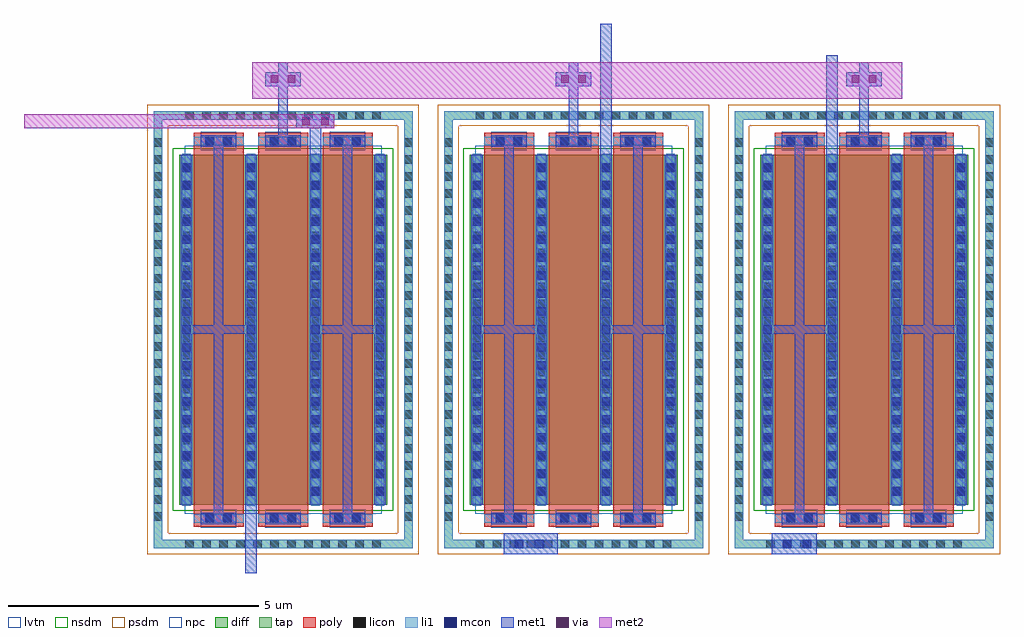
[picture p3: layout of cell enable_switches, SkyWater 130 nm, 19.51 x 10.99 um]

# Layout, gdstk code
import gdstk
lib = gdstk.Library(unit=1e-6, precision=1e-09)
def R(c, l, rs):  # rectangles x0, y0, x1, y1
    for r in rs: c.add(gdstk.rectangle(r[:2], r[2:], *l))
def A(c, l, x, y, w, h, nx, ny, dx, dy):  # array of equal rectangles
    R(c, l, [(x+i*dx, y+j*dy, x+i*dx+w, y+j*dy+h) for i in range(nx) for j in range(ny)])
diff = (65, 20)
tap = (65, 44)
poly = (66, 20)
licon = (66, 44)
li1 = (67, 20)
mcon = (67, 44)
met1 = (68, 20)
via = (68, 44)
met2 = (69, 20)
nsdm = (93, 44)
psdm = (94, 20)
npc = (95, 20)
lvtn = (125, 44)

enable_switches = lib.new_cell('enable_switches')
A(enable_switches, diff, 9.49, 8.82, 4.16, 7, 3, 1, 5.81, 0)
A(enable_switches, tap, 8.98, 7.95, 5.18, 0.17, 3, 2, 5.81, 8.57)
R(enable_switches, tap, [(8.98,8.12,9.15,16.52), (13.99,8.12,14.16,16.52), (14.79,8.12,14.96,16.52), (19.8,8.12,19.97,16.52), (20.6,8.12,20.77,16.52), (25.61,8.12,25.78,16.52)])
A(enable_switches, poly, 9.78, 8.38, 1, 7.88, 3, 1, 1.29, 0)
A(enable_switches, poly, 15.59, 8.38, 1, 7.88, 3, 1, 1.29, 0)
A(enable_switches, poly, 21.4, 8.38, 1, 7.88, 3, 1, 1.29, 0)
A(enable_switches, licon, 9.615, 7.95, 0.17, 0.17, 12, 2, 0.34, 8.57)
A(enable_switches, licon, 15.425, 7.95, 0.17, 0.17, 12, 2, 0.34, 8.57)
A(enable_switches, licon, 21.235, 7.95, 0.17, 0.17, 12, 2, 0.34, 8.57)
A(enable_switches, licon, 8.98, 8.495, 0.17, 0.17, 1, 23, 0, 0.34)
A(enable_switches, licon, 13.99, 8.495, 0.17, 0.17, 1, 23, 0, 0.34)
A(enable_switches, licon, 14.79, 8.495, 0.17, 0.17, 1, 23, 0, 0.34)
A(enable_switches, licon, 19.8, 8.495, 0.17, 0.17, 1, 23, 0, 0.34)
A(enable_switches, licon, 20.6, 8.495, 0.17, 0.17, 1, 23, 0, 0.34)
A(enable_switches, licon, 25.61, 8.495, 0.17, 0.17, 1, 23, 0, 0.34)
A(enable_switches, licon, 9.55, 9.005, 0.17, 0.17, 4, 20, 1.29, 0.34)
A(enable_switches, licon, 15.36, 9.005, 0.17, 0.17, 4, 20, 1.29, 0.34)
A(enable_switches, licon, 21.17, 9.005, 0.17, 0.17, 4, 20, 1.29, 0.34)
R(enable_switches, licon, [(10.025,8.46,10.195,8.63), (10.365,8.46,10.535,8.63), (11.315,8.46,11.485,8.63), (11.655,8.46,11.825,8.63), (12.605,8.46,12.775,8.63), (12.945,8.46,13.115,8.63), (15.835,8.46,16.005,8.63), (16.175,8.46,16.345,8.63), (17.125,8.46,17.295,8.63), (17.465,8.46,17.635,8.63), (18.415,8.46,18.585,8.63), (18.755,8.46,18.925,8.63), (21.645,8.46,21.815,8.63), (21.985,8.46,22.155,8.63), (22.935,8.46,23.105,8.63), (23.275,8.46,23.445,8.63), (24.225,8.46,24.395,8.63), (24.565,8.46,24.735,8.63), (10.025,16.01,10.195,16.18), (10.365,16.01,10.535,16.18), (11.315,16.01,11.485,16.18), (11.655,16.01,11.825,16.18), (12.605,16.01,12.775,16.18), (12.945,16.01,13.115,16.18), (15.835,16.01,16.005,16.18), (16.175,16.01,16.345,16.18), (17.125,16.01,17.295,16.18), (17.465,16.01,17.635,16.18), (18.415,16.01,18.585,16.18), (18.755,16.01,18.925,16.18), (21.645,16.01,21.815,16.18), (21.985,16.01,22.155,16.18), (22.935,16.01,23.105,16.18), (23.275,16.01,23.445,16.18), (24.225,16.01,24.395,16.18), (24.565,16.01,24.735,16.18)])
A(enable_switches, li1, 8.98, 7.95, 5.18, 0.17, 3, 2, 5.81, 8.57)
A(enable_switches, li1, 9.78, 8.46, 1, 0.17, 3, 2, 1.29, 7.55)
A(enable_switches, li1, 15.59, 8.46, 1, 0.17, 3, 2, 1.29, 7.55)
A(enable_switches, li1, 21.4, 8.46, 1, 0.17, 3, 2, 1.29, 7.55)
A(enable_switches, li1, 9.55, 8.8, 0.17, 7.04, 4, 1, 1.29, 0)
A(enable_switches, li1, 15.36, 8.8, 0.17, 7.04, 4, 1, 1.29, 0)
A(enable_switches, li1, 21.17, 8.8, 0.17, 7.04, 4, 1, 1.29, 0)
R(enable_switches, li1, [(8.98,8.12,9.15,16.52), (13.99,8.12,14.16,16.52), (14.79,8.12,14.96,16.52), (19.8,8.12,19.97,16.52), (20.6,8.12,20.77,16.52), (25.61,8.12,25.78,16.52)])
A(enable_switches, mcon, 9.55, 8.995, 0.17, 0.17, 4, 19, 1.29, 0.36)
A(enable_switches, mcon, 15.36, 8.995, 0.17, 0.17, 4, 19, 1.29, 0.36)
A(enable_switches, mcon, 21.17, 8.995, 0.17, 0.17, 4, 19, 1.29, 0.36)
R(enable_switches, mcon, [(16.205,7.95,16.375,8.12), (16.605,7.95,16.775,8.12), (21.565,7.95,21.735,8.12), (21.965,7.95,22.135,8.12), (10.015,8.46,10.185,8.63), (10.375,8.46,10.545,8.63), (11.305,8.46,11.475,8.63), (11.665,8.46,11.835,8.63), (12.595,8.46,12.765,8.63), (12.955,8.46,13.125,8.63), (15.825,8.46,15.995,8.63), (16.185,8.46,16.355,8.63), (17.115,8.46,17.285,8.63), (17.475,8.46,17.645,8.63), (18.405,8.46,18.575,8.63), (18.765,8.46,18.935,8.63), (21.635,8.46,21.805,8.63), (21.995,8.46,22.165,8.63), (22.925,8.46,23.095,8.63), (23.285,8.46,23.455,8.63), (24.215,8.46,24.385,8.63), (24.575,8.46,24.745,8.63), (10.015,16.01,10.185,16.18), (10.375,16.01,10.545,16.18), (11.305,16.01,11.475,16.18), (11.665,16.01,11.835,16.18), (12.595,16.01,12.765,16.18), (12.955,16.01,13.125,16.18), (15.825,16.01,15.995,16.18), (16.185,16.01,16.355,16.18), (17.115,16.01,17.285,16.18), (17.475,16.01,17.645,16.18), (18.405,16.01,18.575,16.18), (18.765,16.01,18.935,16.18), (21.635,16.01,21.805,16.18), (21.995,16.01,22.165,16.18), (22.925,16.01,23.095,16.18), (23.285,16.01,23.455,16.18), (24.215,16.01,24.385,16.18), (24.575,16.01,24.745,16.18)])
A(enable_switches, met1, 9.925, 8.43, 0.71, 0.23, 3, 2, 1.29, 7.55)
A(enable_switches, met1, 15.735, 8.43, 0.71, 0.23, 3, 2, 1.29, 7.55)
A(enable_switches, met1, 21.545, 8.43, 0.71, 0.23, 3, 2, 1.29, 7.55)
A(enable_switches, met1, 15.33, 8.82, 0.23, 3.415, 4, 1, 1.29, 0)
A(enable_switches, met1, 21.14, 8.82, 0.23, 3.415, 4, 1, 1.29, 0)
A(enable_switches, met1, 11.475, 16.21, 0.19, 0.98, 3, 1, 5.81, 0)
A(enable_switches, met1, 11.215, 17.19, 0.71, 0.28, 3, 1, 5.81, 0)
A(enable_switches, met1, 11.475, 17.47, 0.19, 0.2, 3, 1, 5.81, 0)
R(enable_switches, met1, [(10.81,7.445,11.04,12.235), (15.98,7.825,17.065,8.245), (21.34,7.825,22.24,8.245), (10.185,8.66,10.375,12.235), (12.765,8.66,12.955,12.235), (15.995,8.66,16.185,12.235), (18.575,8.66,18.765,12.235), (21.805,8.66,21.995,12.235), (24.385,8.66,24.575,12.235), (9.52,8.82,9.75,12.235), (12.1,8.82,12.33,12.235), (13.39,8.82,13.62,12.235), (9.52,12.235,11.04,12.405), (12.1,12.235,13.62,12.405), (15.33,12.235,16.85,12.405), (17.91,12.235,19.43,12.405), (21.14,12.235,22.66,12.405), (23.72,12.235,25.24,12.405), (9.52,12.405,9.75,15.82), (10.185,12.405,10.375,15.98), (10.81,12.405,11.04,15.82), (12.1,12.405,12.33,16.35), (12.765,12.405,12.955,15.98), (13.39,12.405,13.62,15.82), (15.33,12.405,15.56,15.82), (15.995,12.405,16.185,15.98), (16.62,12.405,16.85,15.82), (17.91,12.405,18.14,18.44), (18.575,12.405,18.765,15.98), (19.2,12.405,19.43,15.82), (21.14,12.405,21.37,15.82), (21.805,12.405,21.995,15.98), (22.43,12.405,22.66,17.81), (23.72,12.405,23.95,15.82), (24.385,12.405,24.575,15.98), (25.01,12.405,25.24,15.82), (11.835,16.35,12.595,16.63)])
R(enable_switches, via, [(11.95,16.415,12.1,16.565), (12.33,16.415,12.48,16.565), (11.325,17.255,11.475,17.405), (11.665,17.255,11.815,17.405), (17.135,17.255,17.285,17.405), (17.475,17.255,17.625,17.405), (22.945,17.255,23.095,17.405), (23.285,17.255,23.435,17.405)])
R(enable_switches, met2, [(6.39,16.35,12.595,16.63), (10.955,16.935,23.95,17.67)])
A(enable_switches, nsdm, 9.365, 8.695, 4.41, 7.25, 3, 1, 5.81, 0)
A(enable_switches, psdm, 8.855, 7.825, 5.43, 0.42, 3, 2, 5.81, 8.57)
R(enable_switches, psdm, [(8.855,8.245,9.275,16.395), (13.865,8.245,14.285,16.395), (14.665,8.245,15.085,16.395), (19.675,8.245,20.095,16.395), (20.475,8.245,20.895,16.395), (25.485,8.245,25.905,16.395)])
A(enable_switches, npc, 9.925, 8.36, 0.71, 0.37, 3, 2, 1.29, 7.55)
A(enable_switches, npc, 15.735, 8.36, 0.71, 0.37, 3, 2, 1.29, 7.55)
A(enable_switches, npc, 21.545, 8.36, 0.71, 0.37, 3, 2, 1.29, 7.55)
A(enable_switches, lvtn, 9.6, 8.64, 3.94, 7.36, 3, 1, 5.81, 0)

lib.write_gds('enable_switches.gds')
